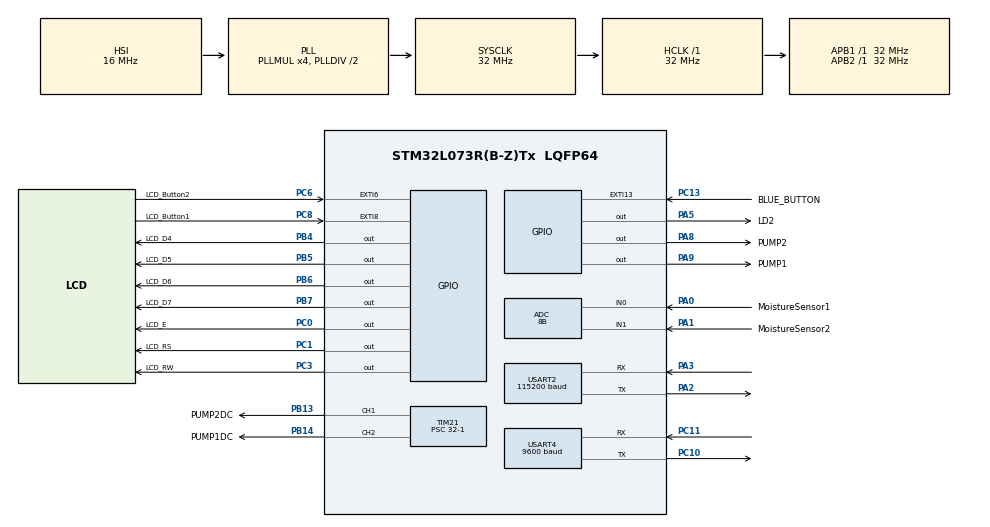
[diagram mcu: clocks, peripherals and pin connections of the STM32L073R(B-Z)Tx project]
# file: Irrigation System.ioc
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ADC.ClockPrescaler=ADC_CLOCK_ASYNC_DIV64
ADC.ContinuousConvMode=ENABLE
ADC.DMAContinuousRequests=ENABLE
ADC.EnableAnalogWatchDog=false
ADC.LowPowerAutoPowerOff=ENABLE
ADC.Resolution=ADC_RESOLUTION_8B
ADC.SamplingTime=ADC_SAMPLETIME_160CYCLES_5
Dma.ADC.0.Direction=DMA_PERIPH_TO_MEMORY
Dma.ADC.0.Instance=DMA1_Channel1
Dma.ADC.0.MemDataAlignment=DMA_MDATAALIGN_HALFWORD
Dma.ADC.0.MemInc=DMA_MINC_ENABLE
Dma.ADC.0.Mode=DMA_CIRCULAR
Dma.ADC.0.PeriphDataAlignment=DMA_PDATAALIGN_HALFWORD
Dma.ADC.0.PeriphInc=DMA_PINC_DISABLE
Dma.ADC.0.Priority=DMA_PRIORITY_LOW
Dma.Request0=ADC
Mcu.Family=STM32L0
Mcu.Name=STM32L073R(B-Z)Tx
Mcu.Package=LQFP64
NVIC.DMA1_Channel1_IRQn=true\:0\:0\:false\:false\:true\:false\:true
NVIC.EXTI4_15_IRQn=true\:0\:0\:true\:false\:true\:true\:true
NVIC.RCC_CRS_IRQn=true\:0\:0\:false\:false\:true\:true\:false
NVIC.RTC_IRQn=true\:0\:0\:false\:false\:true\:true\:true
NVIC.TIM2_IRQn=true\:0\:0\:false\:false\:true\:true\:true
NVIC.TIM3_IRQn=true\:0\:0\:false\:false\:true\:true\:true
NVIC.TIM6_DAC_IRQn=true\:3\:0\:true\:false\:true\:true\:true
NVIC.TIM7_IRQn=true\:3\:0\:true\:false\:true\:true\:true
NVIC.USART2_IRQn=true\:0\:0\:false\:false\:true\:true\:true
NVIC.USART4_5_IRQn=true\:0\:0\:false\:false\:true\:true\:true
PA0.GPIO_Label=MoistureSensor1
PA0.Mode=IN0
PA0.Signal=ADC_IN0
PA1.GPIO_Label=MoistureSensor2
PA1.Mode=IN1
PA1.Signal=ADC_IN1
PA13.Mode=Serial_Wire
PA13.Signal=SYS_SWDIO
PA14.Mode=Serial_Wire
PA14.Signal=SYS_SWCLK
PA2.Mode=Asynchronous
PA2.Signal=USART2_TX
PA3.Mode=Asynchronous
PA3.Signal=USART2_RX
PA5.GPIO_Label=LD2
PA5.Signal=GPIO_Output
PA8.GPIO_Label=PUMP2
PA8.Signal=GPIO_Output
PA9.GPIO_Label=PUMP1
PA9.Signal=GPIO_Output
PB13.GPIO_Label=PUMP2DC
PB13.Signal=S_TIM21_CH1
PB14.GPIO_Label=PUMP1DC
PB14.Signal=S_TIM21_CH2
PB4.GPIO_Label=LCD_D4
PB4.Signal=GPIO_Output
PB5.GPIO_Label=LCD_D5
PB5.Signal=GPIO_Output
PB6.GPIO_Label=LCD_D6
PB6.Signal=GPIO_Output
PB7.GPIO_Label=LCD_D7
PB7.Signal=GPIO_Output
PC0.GPIO_Label=LCD_E
PC0.Signal=GPIO_Output
PC1.GPIO_Label=LCD_RS
PC1.Signal=GPIO_Output
PC10.Mode=Asynchronous
PC10.Signal=USART4_TX
PC11.Mode=Asynchronous
PC11.Signal=USART4_RX
PC13.GPIO_Label=BLUE_BUTTON
PC13.GPIO_ModeDefaultEXTI=GPIO_MODE_IT_RISING_FALLING
PC13.GPIO_PuPd=GPIO_PULLUP
PC13.Signal=GPXTI13
PC14-OSC32_IN.Mode=LSE-External-Oscillator
PC14-OSC32_IN.Signal=RCC_OSC32_IN
PC15-OSC32_OUT.Mode=LSE-External-Oscillator
PC15-OSC32_OUT.Signal=RCC_OSC32_OUT
PC3.GPIO_Label=LCD_RW
PC3.Signal=GPIO_Output
PC6.GPIO_Label=LCD_Button2
PC6.GPIO_ModeDefaultEXTI=GPIO_MODE_IT_RISING_FALLING
PC6.GPIO_PuPd=GPIO_PULLUP
PC6.Signal=GPXTI6
PC8.GPIO_Label=LCD_Button1
PC8.GPIO_ModeDefaultEXTI=GPIO_MODE_IT_RISING_FALLING
PC8.GPIO_PuPd=GPIO_PULLUP
PC8.Signal=GPXTI8
PH0-OSC_IN.Mode=HSE-External-Oscillator
PH0-OSC_IN.Signal=RCC_OSC_IN
PH1-OSC_OUT.Mode=HSE-External-Oscillator
PH1-OSC_OUT.Signal=RCC_OSC_OUT
ProjectManager.HeapSize=0x200
ProjectManager.StackSize=0x400
ProjectManager.TargetToolchain=STM32CubeIDE
RCC.AHBFreq_Value=32000000
RCC.APB1Freq_Value=32000000
RCC.APB1TimFreq_Value=32000000
RCC.APB2Freq_Value=32000000
RCC.APB2TimFreq_Value=32000000
RCC.EnableCSSLSE=true
RCC.HCLKFreq_Value=32000000
RCC.HSE_VALUE=8000000
RCC.HSI16_VALUE=16000000
RCC.HSI48_VALUE=48000000
RCC.HSI_VALUE=16000000
RCC.MSI_VALUE=2097000
RCC.PLLMUL=RCC_PLLMUL_4
RCC.RCC_RTC_Clock_Source_FROM_HSE=RCC_RTCCLKSOURCE_HSE_DIV8
RCC.RTCClockSelectionVirtual=RCC_RTCCLKSOURCE_LSE
RCC.SYSCLKFreq_VALUE=32000000
RCC.SYSCLKSource=RCC_SYSCLKSOURCE_PLLCLK
RCC.VCOOutputFreq_Value=64000000
RTC.Alarm-Alarm\ A=RTC_ALARM_A
RTC.AlarmMaskDateWeekDay-Alarm\ A=RTC_ALARMMASK_DATEWEEKDAY
RTC.AlarmMaskHours-Alarm\ A=RTC_ALARMMASK_HOURS
RTC.AlarmMaskMinutes-Alarm\ A=RTC_ALARMMASK_MINUTES
RTC.AlarmMaskSeconds-Alarm\ A=RTC_ALARMMASK_SECONDS
RTC.Hours_A-Alarm\ A=1
RTC.Seconds_A-Alarm\ A=0
SH.S_TIM21_CH1.0=TIM21_CH1,PWM Generation1 CH1
SH.S_TIM21_CH2.0=TIM21_CH2,PWM Generation2 CH2
TIM2.Period=2000-1
TIM2.Prescaler=3200-1
TIM21.AutoReloadPreload=TIM_AUTORELOAD_PRELOAD_ENABLE
TIM21.Channel-PWM\ Generation1\ CH1=TIM_CHANNEL_1
TIM21.Channel-PWM\ Generation2\ CH2=TIM_CHANNEL_2
TIM21.Period=1000-1
TIM21.Prescaler=32-1
TIM21.Pulse-PWM\ Generation1\ CH1=200-1
TIM21.Pulse-PWM\ Generation2\ CH2=200-1
TIM3.Period=400-1
TIM3.Prescaler=3200-1
TIM6.Period=5000-1
TIM6.Prescaler=3200-1
TIM7.Period=2-1
TIM7.Prescaler=1600-1
USART2.BaudRate=115200
USART2.VirtualMode-Asynchronous=VM_ASYNC
USART4.BaudRate=9600
USART4.VirtualMode-Asynchronous=VM_ASYNC
VP_RTC_VS_RTC_Activate.Mode=RTC_Enabled
VP_RTC_VS_RTC_Alarm_A_Intern.Mode=Alarm A
VP_RTC_VS_RTC_Calendar.Mode=RTC_Calendar
VP_TIM21_VS_ClockSourceINT.Mode=Internal
VP_TIM2_VS_ClockSourceINT.Mode=Internal
VP_TIM3_VS_ClockSourceINT.Mode=Internal
VP_TIM6_VS_ClockSourceINT.Mode=Enable_Timer
VP_TIM7_VS_ClockSourceINT.Mode=Enable_Timer
board=custom

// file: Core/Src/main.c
/* USER CODE BEGIN Header */
/**
  ******************************************************************************
  * @file           : main.c
  * @brief          : Main program body
  * @author Przemysław Jóźwik 300324
  * @date 30 January 2022
  ******************************************************************************
  * @attention
  *
  * <h2><center>&copy; Copyright (c) 2021 STMicroelectronics.
  * All rights reserved.</center></h2>
  *
  * This software component is licensed by ST under BSD 3-Clause license,
  * the "License"; You may not use this file except in compliance with the
  * License. You may obtain a copy of the License at:
  *                        opensource.org/licenses/BSD-3-Clause
  *
 /****************************************************************************
  *W projekcie będziemy realizować system automatycznego nawadniania roślin  *
  *doniczkowych. Do pobierania wody użyjemy pompki sterowanej przez 		 *
  *mikrokontroler, którą umieścimy w pojemniku na wodę. 				     *
  *Proces podlewania będzie cykliczny, załączany o pewnej porze, 			 *
  *ustawianej przez użytkownika. Możliwość zmiany ustawień będzie 			 *
  *zrealizowana za pomocą połączenia Bluetooth z urządzeniem 				 *
  *mobilnym lub też za pomocą wbudowanych w system przycisków. 				 *
  *Do obustronnego przesyłu informacji 										 *
  *użyjemy również interfejsu szeregowego UART. Urządzenie 					 *
  *ponadto będzie mierzyć wilgotność gleby oraz alarmować, 					 *
  *gdy braknie wody w pojemniku.											 *
  *																			 *
  *Autorzy:																	 *
  *Przemysław Jóźwik 300324													 *
  *Tomasz Petrzak 	 300344													 *
  ***************************************************************************/

/* USER CODE END Header */
#include "main.h"
#include "adc.h"
#include "dma.h"
#include "rtc.h"
#include "tim.h"
#include "usart.h"
#include "gpio.h"

/* USER CODE BEGIN Includes */
#include "LCD_HD44780.h"
#include "flower_data.h"
#include "buttons.h"
#include <string.h>
#include <stdio.h>
#include <stdbool.h>

/* USER CODE END Includes */

/* USER CODE BEGIN PV */
struct lcd_display disp;
struct flower_data flowers[NUMBER_OF_FLOWERS];

RTC_TimeTypeDef Rtc_Time;
RTC_DateTypeDef Rtc_Date;
void(* buttonFun_ptr)(struct lcd_display *);

uint16_t sensor_data[2];
uint8_t watering_state = 0;
//uint8_t previous_button_state = 0;

/* USER CODE END PV */

void SystemClock_Config(void);

/* USER CODE BEGIN 0 */
uint8_t Received[10];
/* USER CODE END 0 */

int main(void)
{

  /* MCU Configuration--------------------------------------------------------*/

  /* Reset of all peripherals, Initializes the Flash interface and the Systick. */
  HAL_Init();

  /* USER CODE BEGIN Init */
  flowersInit(flowers);
  flowers[0].sensor_data = &sensor_data[0];
  flowers[1].sensor_data = &sensor_data[1];
  dispInit(&disp);

  /* USER CODE END Init */

  /* Configure the system clock */
  SystemClock_Config();

  /* Initialize all configured peripherals */
  MX_GPIO_Init();
  MX_RTC_Init();
  MX_DMA_Init();
  MX_ADC_Init();
  MX_TIM6_Init();
  MX_TIM7_Init();
  MX_TIM3_Init();
  MX_USART2_UART_Init();
  MX_USART4_UART_Init();
  MX_TIM2_Init();
  MX_TIM21_Init();
  /* USER CODE BEGIN 2 */
  LCD_Init();
  HAL_TIM_Base_Start_IT(&htim6);
  HAL_TIM_Base_Start_IT(&htim7);
  HAL_ADCEx_Calibration_Start(&hadc, ADC_SINGLE_ENDED);
  HAL_ADC_Start_DMA(&hadc, (uint32_t *)sensor_data, 2);
  initUSART();
  __HAL_TIM_SET_COMPARE(&htim21, TIM_CHANNEL_1, 800);
  __HAL_TIM_SET_COMPARE(&htim21, TIM_CHANNEL_2, 800);
  /* USER CODE END 2 */

  /* Infinite loop */
  while (1)
  {

  }
}

void SystemClock_Config(void)
{
  RCC_OscInitTypeDef RCC_OscInitStruct = {0};
  RCC_ClkInitTypeDef RCC_ClkInitStruct = {0};
  RCC_PeriphCLKInitTypeDef PeriphClkInit = {0};

  /** Configure the main internal regulator output voltage
  */
  __HAL_PWR_VOLTAGESCALING_CONFIG(PWR_REGULATOR_VOLTAGE_SCALE1);
  /** Configure LSE Drive Capability
  */
  HAL_PWR_EnableBkUpAccess();
  __HAL_RCC_LSEDRIVE_CONFIG(RCC_LSEDRIVE_LOW);
  /** Initializes the RCC Oscillators according to the specified parameters
  * in the RCC_OscInitTypeDef structure.
  */
  RCC_OscInitStruct.OscillatorType = RCC_OSCILLATORTYPE_HSI|RCC_OSCILLATORTYPE_LSE;
  RCC_OscInitStruct.LSEState = RCC_LSE_ON;
  RCC_OscInitStruct.HSIState = RCC_HSI_ON;
  RCC_OscInitStruct.HSICalibrationValue = RCC_HSICALIBRATION_DEFAULT;
  RCC_OscInitStruct.PLL.PLLState = RCC_PLL_ON;
  RCC_OscInitStruct.PLL.PLLSource = RCC_PLLSOURCE_HSI;
  RCC_OscInitStruct.PLL.PLLMUL = RCC_PLLMUL_4;
  RCC_OscInitStruct.PLL.PLLDIV = RCC_PLLDIV_2;
  if (HAL_RCC_OscConfig(&RCC_OscInitStruct) != HAL_OK)
  {
    Error_Handler();
  }
  /** Initializes the CPU, AHB and APB buses clocks
  */
  RCC_ClkInitStruct.ClockType = RCC_CLOCKTYPE_HCLK|RCC_CLOCKTYPE_SYSCLK
                              |RCC_CLOCKTYPE_PCLK1|RCC_CLOCKTYPE_PCLK2;
  RCC_ClkInitStruct.SYSCLKSource = RCC_SYSCLKSOURCE_PLLCLK;
  RCC_ClkInitStruct.AHBCLKDivider = RCC_SYSCLK_DIV1;
  RCC_ClkInitStruct.APB1CLKDivider = RCC_HCLK_DIV1;
  RCC_ClkInitStruct.APB2CLKDivider = RCC_HCLK_DIV1;

  if (HAL_RCC_ClockConfig(&RCC_ClkInitStruct, FLASH_LATENCY_1) != HAL_OK)
  {
    Error_Handler();
  }
  PeriphClkInit.PeriphClockSelection = RCC_PERIPHCLK_USART2|RCC_PERIPHCLK_RTC;
  PeriphClkInit.Usart2ClockSelection = RCC_USART2CLKSOURCE_PCLK1;
  PeriphClkInit.RTCClockSelection = RCC_RTCCLKSOURCE_LSE;
  if (HAL_RCCEx_PeriphCLKConfig(&PeriphClkInit) != HAL_OK)
  {
    Error_Handler();
  }
  /** Enables the Clock Security System
  */
  HAL_RCCEx_EnableLSECSS();
}

/* USER CODE BEGIN 4 */

/**
  * @brief RTC Alarm Callback (updating time and date with watering time checking every 1 s)
  * @retval None
  */
void HAL_RTC_AlarmAEventCallback(RTC_HandleTypeDef *hrtc) {
	/** Date and time info stored in Rtc_Time and Rtc_Date global var
	  */
	HAL_RTC_GetTime(hrtc, &Rtc_Time, RTC_FORMAT_BIN);
	HAL_RTC_GetDate(hrtc, &Rtc_Date, RTC_FORMAT_BIN);

	watering_state = 0;
	/** Checking if any of flowers watering time occured
		  */
	for(uint8_t i = 0; i<NUMBER_OF_FLOWERS; i++) {
		if((checkForWateringTime(&flowers[i], &Rtc_Time))) {
			watering_state = 1;
			changeDispState(&disp, 3);
			/** Changing the display state during watering time.
				  */
		}
	}
	if(!watering_state&&disp.disp_state==3){
		changeDispState(&disp, 0);
	}

}

/**
  * @brief Timers callback
  * @retval None
  */

void HAL_TIM_PeriodElapsedCallback(TIM_HandleTypeDef *htim){
	/** Timer for updating data
					  */
	if(htim->Instance == TIM6){
		updateDispData(&disp);
		HAL_TIM_Base_Start_IT(&htim7);
	}
	/** Timer for sending data to display
						  */
	if(htim->Instance == TIM7){ //Co 100us zostaje wysłana ramka do wysiwetlacza
		sendDataToDisp(&disp);
	}
	/** Timer for additional buttons functions (actually not in use)
						  */
	if(htim->Instance == TIM3){  //Na razie bezuzytczene (w zamyśle do pracy przycisków w trybie przytrzymywania)
		if(HAL_GPIO_ReadPin(LCD_Button1_GPIO_Port,LCD_Button1_Pin))
		HAL_TIM_Base_Stop_IT(&htim3);
	}
}

/**
  * @brief GPIO Callbacks
  * @retval None
  */
void HAL_GPIO_EXTI_Callback(uint16_t GPIO_Pin) {

	if(GPIO_Pin == BLUE_BUTTON_Pin) {
		if(!HAL_GPIO_ReadPin(BLUE_BUTTON_GPIO_Port, BLUE_BUTTON_Pin)) {
			BLUE_BUTTONFun();
		}
	}

	if(GPIO_Pin == LCD_Button1_Pin) {
		if(HAL_GPIO_ReadPin(LCD_Button1_GPIO_Port,LCD_Button1_Pin)) {
			LCD_Button1Fun();
		}
	}

	if(GPIO_Pin == LCD_Button2_Pin) {
		if(HAL_GPIO_ReadPin(LCD_Button2_GPIO_Port, LCD_Button2_Pin)) {
			LCD_Button2Fun();
		}
	}

}

/* USER CODE END 4 */

void Error_Handler(void)
{
  __disable_irq();
  while (1)
  {
  }
}
